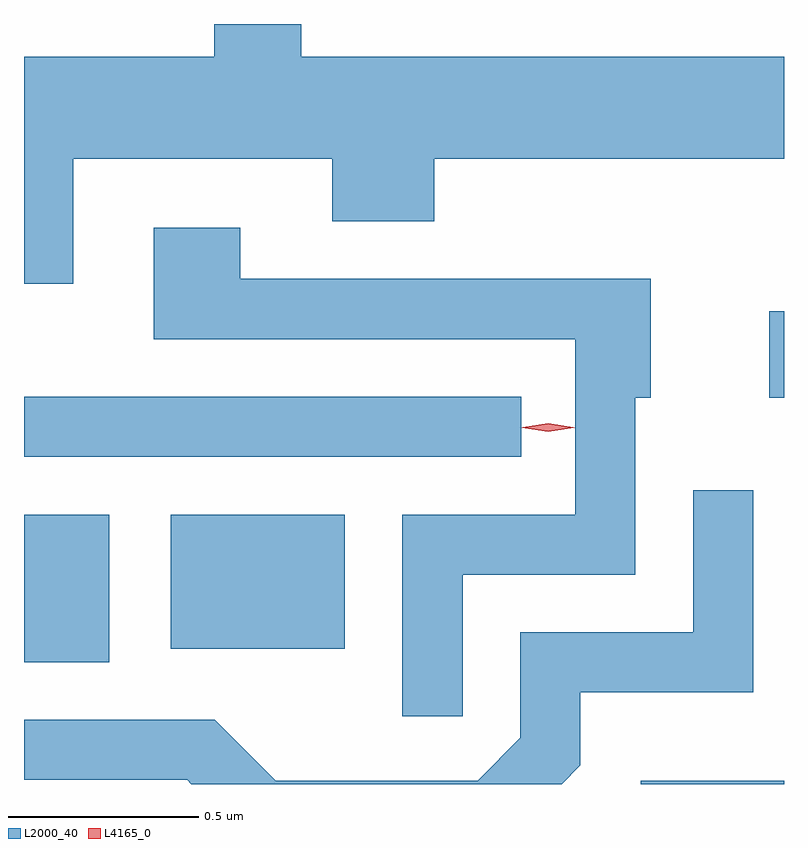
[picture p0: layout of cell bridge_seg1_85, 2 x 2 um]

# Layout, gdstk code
import gdstk
lib = gdstk.Library(unit=1e-6, precision=1e-09)
def R(c, l, rs):  # rectangles x0, y0, x1, y1
    for r in rs: c.add(gdstk.rectangle(r[:2], r[2:], *l))
def P(c, l, *ps):  # polygons
    for p in ps: c.add(gdstk.Polygon(p, *l))
L2000_40 = (2000, 40)
L4165_0 = (4165, 0)

bridge_seg1_85 = lib.new_cell('bridge_seg1_85')
R(bridge_seg1_85, L2000_40, [(1068.013,875.73,1068.39,875.739), (1066.39,876.051,1066.614,876.439), (1066.776,876.086,1067.234,876.439), (1066.39,876.591,1067.698,876.749), (1068.351,876.746,1068.39,876.974)])
P(bridge_seg1_85, L2000_40, [(1066.519,877.376),(1067.201,877.376),(1067.201,877.211),(1067.469,877.211),(1067.469,877.376),(1068.39,877.376),(1068.39,877.644),(1067.119,877.644),(1067.119,877.73),(1066.891,877.73),(1066.891,877.644),(1066.39,877.644),(1066.39,877.046),(1066.519,877.046)],
  [(1067.544,876.281),(1067.999,876.281),(1067.999,876.746),(1068.039,876.746),(1068.039,877.059),(1066.959,877.059),(1066.959,877.194),(1066.731,877.194),(1066.731,876.901),(1067.841,876.901),(1067.841,876.439),(1067.386,876.439),(1067.386,875.908),(1067.544,875.908)],
  [(1067.854,875.779),(1067.854,875.971),(1068.309,875.971),(1068.309,876.503),(1068.151,876.503),(1068.151,876.129),(1067.696,876.129),(1067.696,875.852),(1067.584,875.739),(1067.052,875.739),(1066.892,875.899),(1066.39,875.899),(1066.39,875.741),(1066.819,875.741),(1066.83,875.73),(1067.805,875.73)])
P(bridge_seg1_85, L4165_0, [(1067.769,876.657),(1067.7,876.667),(1067.699,876.667),(1067.7,876.668),(1067.769,876.677),(1067.838,876.668),(1067.839,876.667),(1067.838,876.667)],
  [(1067.77,876.659),(1067.703,876.668),(1067.703,876.669),(1067.703,876.669),(1067.77,876.679),(1067.836,876.669),(1067.836,876.669),(1067.836,876.668)])

lib.write_gds('bridge_seg1_85.gds')
